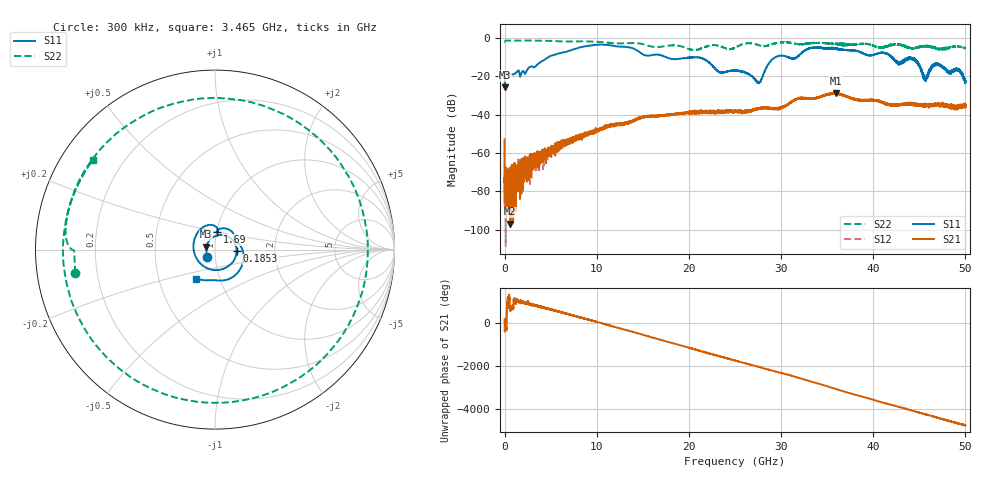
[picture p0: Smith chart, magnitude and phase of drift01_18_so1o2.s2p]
!Created with skrf (http://scikit-rf.org).
# Hz S RI R 50.0
!freq ReS11 ImS11 ReS21 ImS21 ReS12 ImS12 ReS22 ImS22
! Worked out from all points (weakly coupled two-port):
!   10001 points, 300 kHz to 50 GHz, reference 50 ohm
!   highest |S21| = -28.76 dB at 35.94 GHz (marker M1); lowest = -96.7 dB at 595.3 MHz (marker M2)
!   lowest |S11| = -25.8 dB at 5.3 MHz (marker M3), VSWR 1.11, Z = 45.3 + j1.42 ohm
!   |S11| at or under -10 dB: start of sweep to 4.763 GHz; 17.5 GHz to 29.4 GHz (11.91 GHz wide, 50.8 % of centre); 44.05 GHz to end of sweep (the widest 3 of 13)
!   |S22| runs from -6.4 to -1.4 dB; largest |S21 - S12| = 0.0044
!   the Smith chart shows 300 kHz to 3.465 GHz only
!   S11 on the Smith chart (normalised r, x): 300 kHz: 0.91, -0.08; 185.3 MHz: 1.27, -0.02; 1.69 GHz: 1.00, +0.20; 3.465 GHz: 0.77, -0.26
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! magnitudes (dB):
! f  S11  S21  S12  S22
! 300 kHz  -24.1  -52.8  -53.6  -2.1
! 5.3 MHz  -25.8  -75.5  -79.5  -2.1
! 185.3 MHz  -18.4  -93.2  -88.7  -1.4
! 270.3 MHz  -18.4  -74.8  -74.6  -1.4
! 595.3 MHz  -18.8  -96.7  -83.9  -1.5
! 1.69 GHz  -20.1  -69.6  -68.4  -1.4
! 3.465 GHz  -14.3  -65.4  -62.6  -1.5
! 8.335 GHz  -4.8  -52.1  -51.6  -1.8
! 16.67 GHz  -8.8  -40.5  -40.4  -4.8
! 25 GHz  -17.0  -38.0  -38.3  -5.1
! 27.59 GHz  -23.6  -37.1  -36.9  -3.8
! 29.27 GHz  -10.4  -37.1  -36.8  -2.9
! 31.45 GHz  -10.8  -32.2  -32.3  -3.0
! 33.34 GHz  -5.2  -31.8  -31.8  -2.6
! 35.94 GHz  -5.5  -28.8  -29.2  -3.0
! 41.67 GHz  -8.9  -34.4  -34.7  -4.4
! 42.75 GHz  -12.8  -35.2  -34.8  -3.4
! 44.43 GHz  -11.4  -35.3  -34.6  -5.2
! 45.63 GHz  -20.9  -35.3  -35.2  -4.3
! 46.94 GHz  -13.7  -34.9  -34.9  -5.5
! 49.25 GHz  -17.2  -36.0  -35.9  -4.6
! 50 GHz  -22.5  -34.8  -35.1  -5.4
